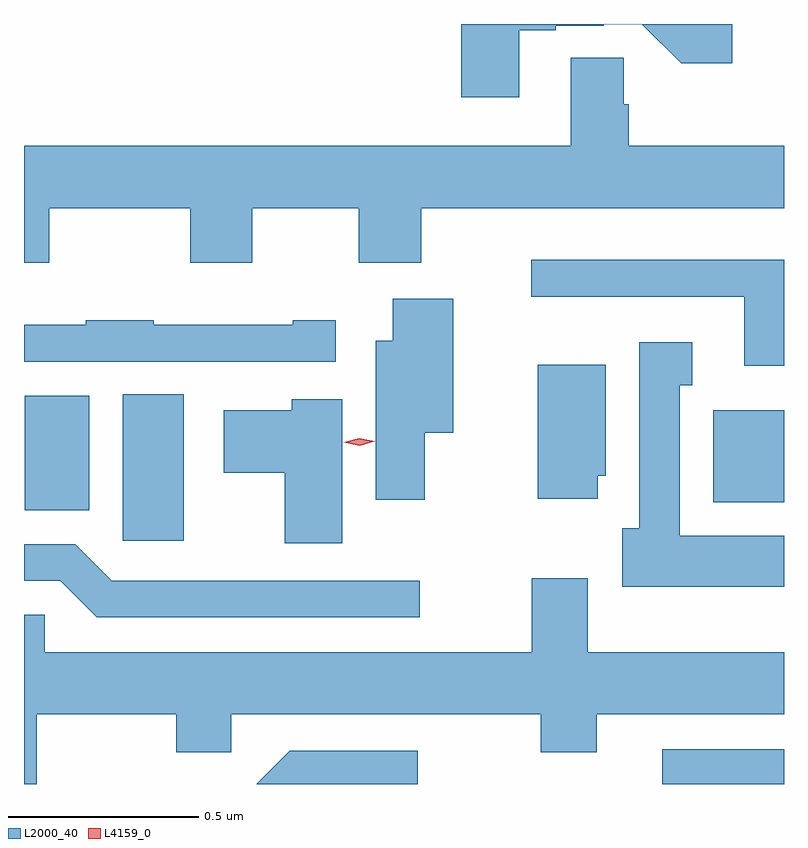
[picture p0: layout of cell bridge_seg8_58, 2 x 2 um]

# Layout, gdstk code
import gdstk
lib = gdstk.Library(unit=1e-6, precision=1e-09)
def R(c, l, rs):  # rectangles x0, y0, x1, y1
    for r in rs: c.add(gdstk.rectangle(r[:2], r[2:], *l))
def P(c, l, *ps):  # polygons
    for p in ps: c.add(gdstk.Polygon(p, *l))
L2000_40 = (2000, 40)
L4159_0 = (4159, 0)

bridge_seg8_58 = lib.new_cell('bridge_seg8_58')
R(bridge_seg8_58, L2000_40, [(1117.829,1099.001,1118.15,1099.092), (1116.41,1099.641,1116.571,1100.027), (1116.152,1099.721,1116.322,1100.023), (1117.964,1099.742,1118.15,1099.984)])
P(bridge_seg8_58, L2000_40, [(1117.453,1100.985),(1117.549,1100.985),(1117.549,1100.997),(1117.676,1100.997),(1117.676,1101),(1117.776,1101),(1117.879,1100.898),(1118.014,1100.898),(1118.014,1101),(1117.914,1101),(1117.913,1101.001),(1117.301,1101.001),(1117.301,1100.808),(1117.453,1100.808)],
  [(1116.217,1100.516),(1116.587,1100.516),(1116.587,1100.373),(1116.751,1100.373),(1116.751,1100.516),(1117.031,1100.516),(1117.031,1100.373),(1117.195,1100.373),(1117.195,1100.516),(1118.15,1100.516),(1118.15,1100.68),(1117.742,1100.68),(1117.742,1100.79),(1117.728,1100.79),(1117.728,1100.912),(1117.589,1100.912),(1117.589,1100.68),(1116.15,1100.68),(1116.15,1100.373),(1116.217,1100.373)],
  [(1118.15,1100.38),(1117.485,1100.38),(1117.485,1100.283),(1118.045,1100.283),(1118.045,1100.102),(1118.15,1100.102)],
  [(1117.204,1099.925),(1117.279,1099.925),(1117.279,1100.278),(1117.121,1100.278),(1117.121,1100.167),(1117.076,1100.167),(1117.076,1099.749),(1117.204,1099.749)],
  [(1116.97,1100.221),(1116.857,1100.221),(1116.857,1100.209),(1116.491,1100.209),(1116.491,1100.221),(1116.313,1100.221),(1116.313,1100.209),(1116.15,1100.209),(1116.15,1100.112),(1116.97,1100.112)],
  [(1118.15,1099.654),(1117.876,1099.654),(1117.876,1100.051),(1117.909,1100.051),(1117.909,1100.164),(1117.769,1100.164),(1117.769,1099.674),(1117.724,1099.674),(1117.724,1099.52),(1118.15,1099.52)],
  [(1117.66,1099.812),(1117.681,1099.812),(1117.681,1100.104),(1117.502,1100.104),(1117.502,1099.752),(1117.66,1099.752)],
  [(1116.988,1100.014),(1116.854,1100.014),(1116.854,1099.984),(1116.675,1099.984),(1116.675,1099.82),(1116.836,1099.82),(1116.836,1099.634),(1116.988,1099.634)],
  [(1117.192,1099.536),(1116.381,1099.536),(1116.285,1099.632),(1116.15,1099.632),(1116.15,1099.536),(1116.246,1099.536),(1116.342,1099.44),(1117.192,1099.44)],
  [(1116.183,1099.184),(1116.55,1099.184),(1116.55,1099.085),(1116.696,1099.085),(1116.696,1099.184),(1117.51,1099.184),(1117.51,1099.085),(1117.657,1099.085),(1117.657,1099.184),(1118.15,1099.184),(1118.15,1099.348),(1117.633,1099.348),(1117.633,1099.543),(1117.486,1099.543),(1117.486,1099.348),(1116.204,1099.348),(1116.204,1099.446),(1116.15,1099.446),(1116.15,1099.001),(1116.183,1099.001)],
  [(1117.186,1099.089),(1116.849,1099.089),(1116.762,1099.002),(1116.762,1099.001),(1117.186,1099.001)])
P(bridge_seg8_58, L4159_0, [(1117.033,1099.891),(1116.992,1099.9),(1116.992,1099.9),(1116.992,1099.9),(1117.032,1099.911),(1117.073,1099.903),(1117.073,1099.903),(1117.073,1099.903)])

lib.write_gds('bridge_seg8_58.gds')
